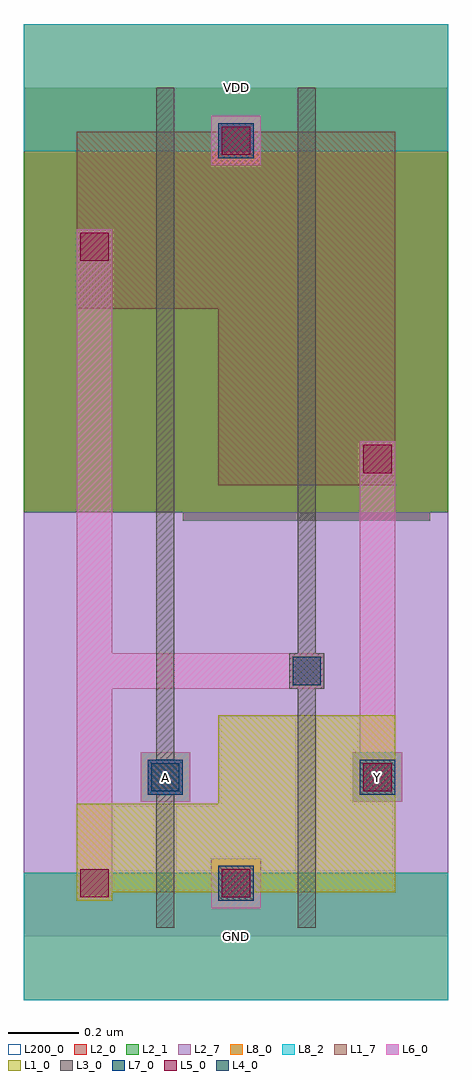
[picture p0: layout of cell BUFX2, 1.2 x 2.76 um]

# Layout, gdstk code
import gdstk
lib = gdstk.Library(unit=1e-6, precision=1e-09)
def R(c, l, rs):  # rectangles x0, y0, x1, y1
    for r in rs: c.add(gdstk.rectangle(r[:2], r[2:], *l))
def P(c, l, *ps):  # polygons
    for p in ps: c.add(gdstk.Polygon(p, *l))
L1_0 = (1, 0)
L1_7 = (1, 7)
L2_0 = (2, 0)
L2_1 = (2, 1)
L2_7 = (2, 7)
L3_0 = (3, 0)
L4_0 = (4, 0)
L5_0 = (5, 0)
L6_0 = (6, 0)
L7_0 = (7, 0)
L8_0 = (8, 0)
L8_2 = (8, 2)
L200_0 = (200, 0)

bufx2 = lib.new_cell('BUFX2')
P(bufx2, L1_0, [(0.15,0.1),(0.15,0.375),(0.55,0.375),(0.55,0.625),(1.05,0.625),(1.05,0.125),(0.65,0.125),(0.65,0.1),(0.55,0.1),(0.55,0.125),(0.25,0.125),(0.25,0.1)])
P(bufx2, L1_7, [(0.55,1.275),(0.55,1.775),(0.15,1.775),(0.15,2.275),(0.55,2.275),(0.55,2.3),(0.65,2.3),(0.65,2.275),(1.05,2.275),(1.05,1.275)])
P(bufx2, L2_0, [(0.45,1.175),(0.45,1.2),(0,1.2),(0,2.4),(1.2,2.4),(1.2,1.2),(1.15,1.2),(1.15,1.175)])
P(bufx2, L2_1, [(0.45,1.175),(0.45,1.2),(0,1.2),(0,2.4),(1.2,2.4),(1.2,1.2),(1.15,1.2),(1.15,1.175)])
R(bufx2, L2_7, [(0,0,1.2,1.2)])
P(bufx2, L3_0, [(0.375,0.025),(0.375,0.4),(0.35,0.4),(0.35,0.5),(0.375,0.5),(0.375,2.4),(0.425,2.4),(0.425,0.5),(0.45,0.5),(0.45,0.4),(0.425,0.4),(0.425,0.025)],
  [(0.775,0.025),(0.775,0.7),(0.75,0.7),(0.75,0.8),(0.775,0.8),(0.775,2.4),(0.825,2.4),(0.825,0.8),(0.85,0.8),(0.85,0.7),(0.825,0.7),(0.825,0.025)])
R(bufx2, L4_0, [(0.36,0.41,0.44,0.49), (0.76,0.71,0.84,0.79)])
R(bufx2, L5_0, [(0.16,0.11,0.24,0.19), (0.56,0.11,0.64,0.19), (0.96,0.41,1.04,0.49), (0.96,1.31,1.04,1.39), (0.16,1.91,0.24,1.99), (0.56,2.21,0.64,2.29)])
R(bufx2, L6_0, [(0.53,0.08,0.67,0.22), (0.33,0.38,0.47,0.52), (0.53,2.18,0.67,2.32)])
P(bufx2, L6_0, [(0.93,0.38),(0.93,0.52),(0.95,0.52),(0.95,1.4),(1.05,1.4),(1.05,0.52),(1.07,0.52),(1.07,0.38)],
  [(0.15,0.1),(0.15,2),(0.25,2),(0.25,0.8),(0.85,0.8),(0.85,0.7),(0.25,0.7),(0.25,0.1)])
R(bufx2, L7_0, [(0.55,0.1,0.65,0.2), (0.35,0.4,0.45,0.5), (0.95,0.4,1.05,0.5), (0.55,2.2,0.65,2.3)])
R(bufx2, L8_0, [(0.33,0.38,0.47,0.52), (0.93,0.38,1.07,0.52)])
P(bufx2, L8_0, [(0,-0.18),(0,0.18),(0.53,0.18),(0.53,0.22),(0.67,0.22),(0.67,0.18),(1.2,0.18),(1.2,-0.18)],
  [(0.53,2.18),(0.53,2.22),(0,2.22),(0,2.58),(1.2,2.58),(1.2,2.22),(0.67,2.22),(0.67,2.18)])
R(bufx2, L8_2, [(0.33,0.38,0.47,0.52), (0.93,0.38,1.07,0.52)])
R(bufx2, L200_0, [(0,0,1.2,2.4)])
bufx2.add(gdstk.FlexPath([(0,2.4),(1.2,2.4)], 0.36, ends="flush", simple_path=True, layer=8, datatype=2))  # L8_2
bufx2.add(gdstk.FlexPath([(0,0),(1.2,0)], 0.36, ends="flush", simple_path=True, layer=8, datatype=2))  # L8_2
bufx2.add(gdstk.Label('A', (0.4,0.45), layer=8, texttype=1))
bufx2.add(gdstk.Label('Y', (1,0.45), layer=8, texttype=1))
bufx2.add(gdstk.Label('GND', (0.6,0), layer=8, texttype=1))
bufx2.add(gdstk.Label('VDD', (0.6,2.4), layer=8, texttype=1))

lib.write_gds('BUFX2.gds')
